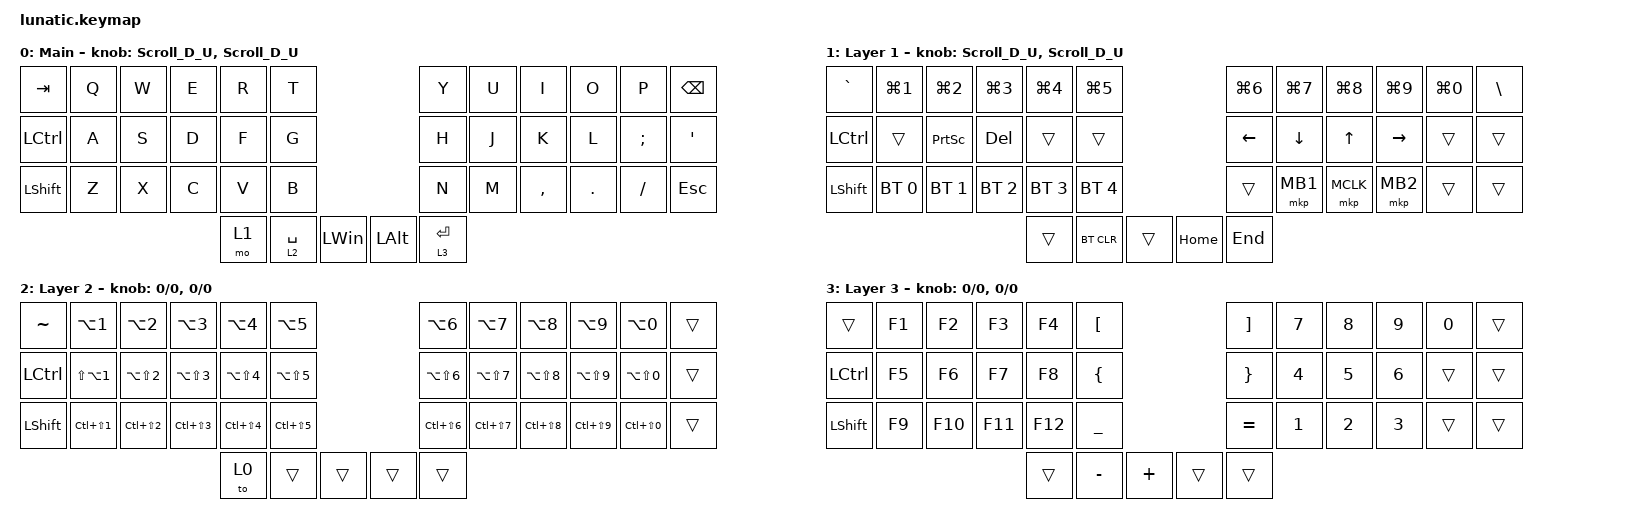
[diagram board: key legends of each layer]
/*
 * Copyright (c) 2020 The ZMK Contributors
 *
 * SPDX-License-Identifier: MIT
 */

#include <dt-bindings/zmk/input_transform.h>
#include <input/processors.dtsi>
#include <zephyr/dt-bindings/input/input-event-codes.h>
#include <dt-bindings/zmk/mouse.h>
#include <behaviors/mouse_keys.dtsi>

//#include <interfaces/hid-trackball.dtsi>  //zmk-hid-trackball-interface

#include <behaviors.dtsi>
#include <dt-bindings/zmk/bt.h>
#include <dt-bindings/zmk/keys.h>
#include <dt-bindings/zmk/pointing.h>

#define Main 0
#define Layer1 1
#define Layer2 2
#define Layer3 3
#define ZMK_POINTING_DEFAULT_MOVE_VAL 1200  // 600
#define ZMK_POINTING_DEFAULT_SCRL_VAL 900   // mousescroll SPEED

&msc_input_listener { input-processors = <&zip_scroll_scaler 2 1>; };

&msc {
    acceleration-exponent = <1>;      // 0
    time-to-max-speed-ms = <100>;       // 300
    delay-ms = <0>;                   // 0
};

&mmv {
    time-to-max-speed-ms = <500>;
    acceleration-exponent = <1>;
    trigger-period-ms = <16>;
};

&soft_off {
    hold-time-ms = <3000>; // Only turn off it the key is held for 3 seconds or longer.
};

&mt {
    tapping-term-ms = <300>;
    flavor = "tap-preferred";
};

/ {
    input_processors {
        zip_wheel_scaler: zip_wheel_scaler {
            compatible = "zmk,input-processor-scaler";
            #input-processor-cells = <2>;
            type = <INPUT_EV_REL>;
            codes = <INPUT_REL_WHEEL>;
            track-remainders;
        };
    };
};

&msc_input_listener {
    speed_up {
        layers = <Layer2>;
        input-processors = <&zip_wheel_scaler 3 1>; //scroll faster x3
    };
};

&trackball_listener {
    scroller {
        layers = <Layer2>;
        input-processors =
            <&zip_xy_transform INPUT_TRANSFORM_Y_INVERT>,
            <&zip_xy_to_scroll_mapper>;
    };
};

/ {
    behaviors {
        Scroll_D_U: Scroll_D_U {
            compatible = "zmk,behavior-sensor-rotate";
            label = "SCROLL_D_U";
            #sensor-binding-cells = <0>;
            bindings = <&msc SCRL_DOWN>, <&msc SCRL_UP>;

            tap-ms = <20>;
        };

        scrollball: scrollball {
            compatible = "zmk,behavior-tap-dance";
            label = "SCROLLBALL";
            #binding-cells = <0>;
            bindings = <&kp LEFT_SHIFT>, <&tog 1>;
        };

        Scroll_U_D: Scroll_U_D {
            compatible = "zmk,behavior-sensor-rotate";
            label = "SCROLL_U_D";
            #sensor-binding-cells = <0>;
            bindings = <&msc SCRL_UP>, <&msc SCRL_DOWN>;

            tap-ms = <20>;
        };

        Scroll_LR: Scroll_LR {
            compatible = "zmk,behavior-sensor-rotate";
            label = "SCROLL_LR";
            #sensor-binding-cells = <0>;
            bindings = <&msc SCRL_LEFT>, <&msc SCRL_RIGHT>;

            tap-ms = <20>;
        };

        Scroll_RL: Scroll_RL {
            compatible = "zmk,behavior-sensor-rotate";
            label = "SCROLL_RL";
            #sensor-binding-cells = <0>;
            bindings = <&msc SCRL_RIGHT>, <&msc SCRL_LEFT>;

            tap-ms = <20>;
        };
    };

    combos { compatible = "zmk,combos"; };

    keymap {
        compatible = "zmk,keymap";

        Main {
            display-name = "Main";
            bindings = <
&kp TAB    &kp Q  &kp W  &kp E  &kp R  &kp T                                    &kp Y        &kp U  &kp I      &kp O    &kp P     &kp BACKSPACE
&kp LCTRL  &kp A  &kp S  &kp D  &kp F  &kp G                                    &kp H        &kp J  &kp K      &kp L    &kp SEMI  &kp SQT
&kp LSHFT  &kp Z  &kp X  &kp C  &kp V  &kp B                                    &kp N        &kp M  &kp COMMA  &kp DOT  &kp FSLH  &kp ESCAPE
                                &mo 1  &lt 2 SPACE  &kp LEFT_WIN  &kp LEFT_ALT  &lt 3 ENTER
            >;

            sensor-bindings = <&Scroll_D_U>, <&Scroll_D_U>;
        };

        Layer1 {
            display-name = "Layer 1";
            bindings = <
&kp GRAVE       &kp LG(NUMBER_1)  &kp LG(NUMBER_2)  &kp LG(NUMBER_3)  &kp LG(NUMBER_4)  &kp LG(NUMBER_5)                    &kp LG(NUMBER_6)  &kp LG(NUMBER_7)  &kp LG(NUMBER_8)  &kp LG(NUMBER_9)  &kp LG(NUMBER_0)  &kp BACKSLASH
&kp LCTRL       &trans            &kp PRINTSCREEN   &kp DELETE        &trans            &trans                              &kp LEFT_ARROW    &kp DOWN_ARROW    &kp UP_ARROW      &kp RIGHT_ARROW   &trans            &trans
&kp LEFT_SHIFT  &bt BT_SEL 0      &bt BT_SEL 1      &bt BT_SEL 2      &bt BT_SEL 3      &bt BT_SEL 4                        &trans            &mkp MB1          &mkp MCLK         &mkp MB2          &trans            &trans
                                                                      &trans            &bt BT_CLR        &trans  &kp HOME  &kp END
            >;

            sensor-bindings = <&Scroll_D_U>, <&Scroll_D_U>;
        };

        Layer2 {
            display-name = "Layer 2";
            bindings = <
&kp TILDE       &kp LA(NUMBER_1)      &kp LA(NUMBER_2)      &kp LA(NUMBER_3)      &kp LA(NUMBER_4)      &kp LA(NUMBER_5)                      &kp LA(NUMBER_6)      &kp LA(NUMBER_7)      &kp LA(NUMBER_8)      &kp LA(NUMBER_9)      &kp LA(NUMBER_0)      &trans
&kp LCTRL       &kp LS(LA(NUMBER_1))  &kp LA(LS(NUMBER_2))  &kp LA(LS(NUMBER_3))  &kp LA(LS(NUMBER_4))  &kp LA(LS(NUMBER_5))                  &kp LA(LS(NUMBER_6))  &kp LA(LS(NUMBER_7))  &kp LA(LS(NUMBER_8))  &kp LA(LS(NUMBER_9))  &kp LA(LS(NUMBER_0))  &trans
&kp LEFT_SHIFT  &kp LC(LS(NUMBER_1))  &kp LC(LS(NUMBER_2))  &kp LC(LS(NUMBER_3))  &kp LC(LS(NUMBER_4))  &kp LC(LS(NUMBER_5))                  &kp LC(LS(NUMBER_6))  &kp LC(LS(NUMBER_7))  &kp LC(LS(NUMBER_8))  &kp LC(LS(NUMBER_9))  &kp LC(LS(NUMBER_0))  &trans
                                                                                  &to 0                 &trans                &trans  &trans  &trans
            >;

            sensor-bindings = <&inc_dec_kp 0 0>, <&inc_dec_kp 0 0>;
        };

        Layer3 {
            display-name = "Layer 3";
            bindings = <
&trans          &kp F1  &kp F2   &kp F3   &kp F4   &kp LEFT_BRACKET                    &kp RIGHT_BRACKET  &kp NUMBER_7  &kp NUMBER_8  &kp NUMBER_9  &kp N0  &trans
&kp LCTRL       &kp F5  &kp F6   &kp F7   &kp F8   &kp LEFT_BRACE                      &kp RIGHT_BRACE    &kp NUMBER_4  &kp NUMBER_5  &kp NUMBER_6  &trans  &trans
&kp LEFT_SHIFT  &kp F9  &kp F10  &kp F11  &kp F12  &kp UNDERSCORE                      &kp EQUAL          &kp NUMBER_1  &kp NUMBER_2  &kp NUMBER_3  &trans  &trans
                                          &trans   &kp MINUS         &kp PLUS  &trans  &trans
            >;

            sensor-bindings = <&inc_dec_kp 0 0>, <&inc_dec_kp 0 0>;
        };
    };
};
